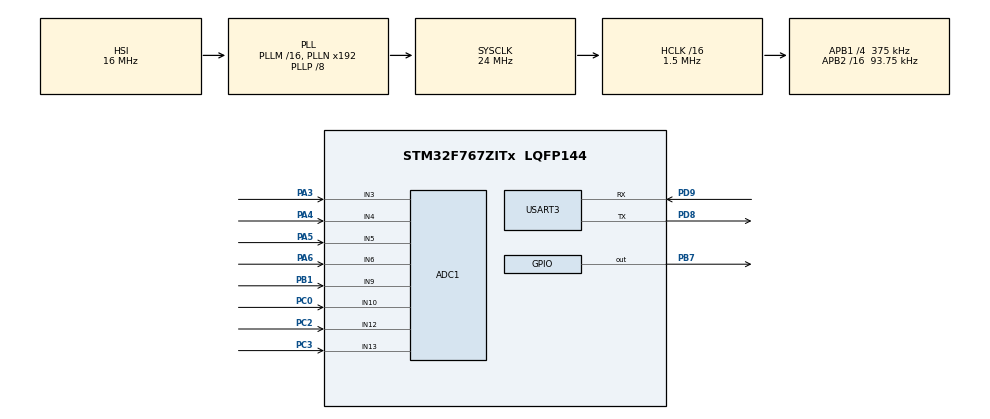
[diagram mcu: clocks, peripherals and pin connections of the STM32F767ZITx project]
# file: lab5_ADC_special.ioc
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ADC1.Channel-0\#ChannelRegularConversion=ADC_CHANNEL_12
ADC1.Channel-1\#ChannelRegularConversion=ADC_CHANNEL_13
ADC1.Channel-2\#ChannelRegularConversion=ADC_CHANNEL_10
ADC1.Channel-3\#ChannelRegularConversion=ADC_CHANNEL_3
ADC1.Channel-4\#ChannelRegularConversion=ADC_CHANNEL_4
ADC1.Channel-5\#ChannelRegularConversion=ADC_CHANNEL_5
ADC1.Channel-6\#ChannelRegularConversion=ADC_CHANNEL_6
ADC1.Channel-7\#ChannelRegularConversion=ADC_CHANNEL_9
ADC1.ClockPrescaler=ADC_CLOCK_SYNC_PCLK_DIV8
ADC1.ContinuousConvMode=ENABLE
ADC1.DMAContinuousRequests=ENABLE
ADC1.NbrOfConversion=8
ADC1.NbrOfConversionFlag=1
ADC1.Rank-0\#ChannelRegularConversion=1
ADC1.Rank-1\#ChannelRegularConversion=2
ADC1.Rank-2\#ChannelRegularConversion=3
ADC1.Rank-3\#ChannelRegularConversion=4
ADC1.Rank-4\#ChannelRegularConversion=5
ADC1.Rank-5\#ChannelRegularConversion=6
ADC1.Rank-6\#ChannelRegularConversion=7
ADC1.Rank-7\#ChannelRegularConversion=8
ADC1.SamplingTime-0\#ChannelRegularConversion=ADC_SAMPLETIME_480CYCLES
ADC1.SamplingTime-1\#ChannelRegularConversion=ADC_SAMPLETIME_480CYCLES
ADC1.SamplingTime-2\#ChannelRegularConversion=ADC_SAMPLETIME_480CYCLES
ADC1.SamplingTime-3\#ChannelRegularConversion=ADC_SAMPLETIME_480CYCLES
ADC1.SamplingTime-4\#ChannelRegularConversion=ADC_SAMPLETIME_480CYCLES
ADC1.SamplingTime-5\#ChannelRegularConversion=ADC_SAMPLETIME_480CYCLES
ADC1.SamplingTime-6\#ChannelRegularConversion=ADC_SAMPLETIME_480CYCLES
ADC1.SamplingTime-7\#ChannelRegularConversion=ADC_SAMPLETIME_480CYCLES
ADC1.ScanConvMode=ADC_SCAN_ENABLE
ADC1.master=1
CORTEX_M7.default_mode_Activation=1
Dma.ADC1.0.Direction=DMA_PERIPH_TO_MEMORY
Dma.ADC1.0.FIFOMode=DMA_FIFOMODE_DISABLE
Dma.ADC1.0.Instance=DMA2_Stream0
Dma.ADC1.0.MemDataAlignment=DMA_MDATAALIGN_WORD
Dma.ADC1.0.MemInc=DMA_MINC_ENABLE
Dma.ADC1.0.Mode=DMA_CIRCULAR
Dma.ADC1.0.PeriphDataAlignment=DMA_PDATAALIGN_WORD
Dma.ADC1.0.PeriphInc=DMA_PINC_DISABLE
Dma.ADC1.0.Priority=DMA_PRIORITY_LOW
Dma.Request0=ADC1
Mcu.Family=STM32F7
Mcu.Name=STM32F767ZITx
Mcu.Package=LQFP144
NVIC.DMA2_Stream0_IRQn=true\:1\:0\:true\:false\:true\:false\:true\:true
NVIC.PriorityGroup=NVIC_PRIORITYGROUP_2
PA3.Signal=ADCx_IN3
PA4.Signal=ADCx_IN4
PA5.Signal=ADCx_IN5
PA6.Signal=ADCx_IN6
PB1.Signal=ADCx_IN9
PB7.Signal=GPIO_Output
PC0.Signal=ADCx_IN10
PC2.Signal=ADCx_IN12
PC3.Signal=ADCx_IN13
PD8.Mode=Asynchronous
PD8.Signal=USART3_TX
PD9.Mode=Asynchronous
PD9.Signal=USART3_RX
ProjectManager.HeapSize=0x200
ProjectManager.StackSize=0x400
ProjectManager.TargetToolchain=STM32CubeIDE
RCC.AHBCLKDivider=RCC_SYSCLK_DIV16
RCC.AHBFreq_Value=1500000
RCC.APB1CLKDivider=RCC_HCLK_DIV4
RCC.APB1Freq_Value=375000
RCC.APB1TimFreq_Value=750000
RCC.APB2CLKDivider=RCC_HCLK_DIV16
RCC.APB2Freq_Value=93750
RCC.APB2TimFreq_Value=187500
RCC.CortexFreq_Value=1500000
RCC.HCLKFreq_Value=1500000
RCC.HSE_VALUE=25000000
RCC.HSI_VALUE=16000000
RCC.LSE_VALUE=32768
RCC.PLLP=RCC_PLLP_DIV8
RCC.SYSCLKFreq_VALUE=24000000
RCC.SYSCLKSource=RCC_SYSCLKSOURCE_PLLCLK
RCC.USART3CLockSelection=RCC_USART3CLKSOURCE_HSI
RCC.USBFreq_Value=96000000
RCC.VCOOutputFreq_Value=192000000
SH.ADCx_IN10.0=ADC1_IN10,IN10
SH.ADCx_IN12.0=ADC1_IN12,IN12
SH.ADCx_IN13.0=ADC1_IN13,IN13
SH.ADCx_IN3.0=ADC1_IN3,IN3
SH.ADCx_IN4.0=ADC1_IN4,IN4
SH.ADCx_IN5.0=ADC1_IN5,IN5
SH.ADCx_IN6.0=ADC1_IN6,IN6
SH.ADCx_IN9.0=ADC1_IN9,IN9
USART3.VirtualMode-Asynchronous=VM_ASYNC
board=custom

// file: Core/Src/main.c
/* USER CODE BEGIN Header */
/**
  ******************************************************************************
  * @file           : main.c
  * @brief          : Main program body
  ******************************************************************************
  * @attention
  *
  * Copyright (c) 2025 STMicroelectronics.
  * All rights reserved.
  *
  * This software is licensed under terms that can be found in the LICENSE file
  * in the root directory of this software component.
  * If no LICENSE file comes with this software, it is provided AS-IS.
  *
  ******************************************************************************
  */
/* USER CODE END Header */
#include "main.h"
#include "adc.h"
#include "dma.h"
#include "usart.h"
#include "gpio.h"

/* USER CODE BEGIN Includes */

typedef struct {
    GPIO_TypeDef *port;
    uint16_t pin;
} LedPin;

LedPin LD2 = {GPIOB, GPIO_PIN_7};

/* USER CODE END Includes */

/* USER CODE BEGIN PD */
#define size_of_adc_value 8

/* USER CODE END PD */

/* USER CODE BEGIN PV */

uint32_t adc_val[size_of_adc_value];
uint8_t ch_adc[] = {12, 13, 10, 3, 4, 5, 6, 9};

/* USER CODE END PV */

void SystemClock_Config(void);
static void MPU_Config(void);

int main(void)
{

  /* MPU Configuration--------------------------------------------------------*/
  MPU_Config();

  /* MCU Configuration--------------------------------------------------------*/

  /* Reset of all peripherals, Initializes the Flash interface and the Systick. */
  HAL_Init();

  /* Configure the system clock */
  SystemClock_Config();

  /* Initialize all configured peripherals */
  MX_GPIO_Init();
  MX_DMA_Init();
  MX_ADC1_Init();
  MX_USART3_UART_Init();
  /* USER CODE BEGIN 2 */

  HAL_ADC_Start_DMA(&hadc1, adc_val, size_of_adc_value);
  /* USER CODE END 2 */

  /* Infinite loop */
  while (1)
  {

  }
}

void SystemClock_Config(void)
{
  RCC_OscInitTypeDef RCC_OscInitStruct = {0};
  RCC_ClkInitTypeDef RCC_ClkInitStruct = {0};

  /** Configure the main internal regulator output voltage
  */
  __HAL_RCC_PWR_CLK_ENABLE();
  __HAL_PWR_VOLTAGESCALING_CONFIG(PWR_REGULATOR_VOLTAGE_SCALE3);

  /** Initializes the RCC Oscillators according to the specified parameters
  * in the RCC_OscInitTypeDef structure.
  */
  RCC_OscInitStruct.OscillatorType = RCC_OSCILLATORTYPE_HSI;
  RCC_OscInitStruct.HSIState = RCC_HSI_ON;
  RCC_OscInitStruct.HSICalibrationValue = RCC_HSICALIBRATION_DEFAULT;
  RCC_OscInitStruct.PLL.PLLState = RCC_PLL_ON;
  RCC_OscInitStruct.PLL.PLLSource = RCC_PLLSOURCE_HSI;
  RCC_OscInitStruct.PLL.PLLM = 16;
  RCC_OscInitStruct.PLL.PLLN = 192;
  RCC_OscInitStruct.PLL.PLLP = RCC_PLLP_DIV8;
  RCC_OscInitStruct.PLL.PLLQ = 2;
  RCC_OscInitStruct.PLL.PLLR = 2;
  if (HAL_RCC_OscConfig(&RCC_OscInitStruct) != HAL_OK)
  {
    Error_Handler();
  }

  /** Initializes the CPU, AHB and APB buses clocks
  */
  RCC_ClkInitStruct.ClockType = RCC_CLOCKTYPE_HCLK|RCC_CLOCKTYPE_SYSCLK
                              |RCC_CLOCKTYPE_PCLK1|RCC_CLOCKTYPE_PCLK2;
  RCC_ClkInitStruct.SYSCLKSource = RCC_SYSCLKSOURCE_PLLCLK;
  RCC_ClkInitStruct.AHBCLKDivider = RCC_SYSCLK_DIV16;
  RCC_ClkInitStruct.APB1CLKDivider = RCC_HCLK_DIV4;
  RCC_ClkInitStruct.APB2CLKDivider = RCC_HCLK_DIV16;

  if (HAL_RCC_ClockConfig(&RCC_ClkInitStruct, FLASH_LATENCY_0) != HAL_OK)
  {
    Error_Handler();
  }
}

/* USER CODE BEGIN 4 */

void HAL_ADC_ConvCpltCallback(ADC_HandleTypeDef* hadc){
	HAL_GPIO_WritePin(GPIOB, GPIO_PIN_7, GPIO_PIN_RESET);

	for (uint8_t i = 0; i < size_of_adc_value; i++){
		char buf[200];
		sprintf(buf, "Value of ADC1 Channel %2d --> %4d  ", ch_adc[i], adc_val[i]);

		HAL_UART_Transmit(&huart3, (uint8_t *)buf, strlen(buf), 100);
		HAL_UART_Transmit(&huart3, "\r\n", 2, 100);
	}

	HAL_UART_Transmit(&huart3, "--------------\r\n", 17, 100);
}

void HAL_ADC_ConvHalfCpltCallback(ADC_HandleTypeDef* hadc){
	HAL_GPIO_WritePin(GPIOB, GPIO_PIN_7, GPIO_PIN_SET);
}

/* USER CODE END 4 */

 /* MPU Configuration */

void MPU_Config(void)
{
  MPU_Region_InitTypeDef MPU_InitStruct = {0};

  /* Disables the MPU */
  HAL_MPU_Disable();

  /** Initializes and configures the Region and the memory to be protected
  */
  MPU_InitStruct.Enable = MPU_REGION_ENABLE;
  MPU_InitStruct.Number = MPU_REGION_NUMBER0;
  MPU_InitStruct.BaseAddress = 0x0;
  MPU_InitStruct.Size = MPU_REGION_SIZE_4GB;
  MPU_InitStruct.SubRegionDisable = 0x87;
  MPU_InitStruct.TypeExtField = MPU_TEX_LEVEL0;
  MPU_InitStruct.AccessPermission = MPU_REGION_NO_ACCESS;
  MPU_InitStruct.DisableExec = MPU_INSTRUCTION_ACCESS_DISABLE;
  MPU_InitStruct.IsShareable = MPU_ACCESS_SHAREABLE;
  MPU_InitStruct.IsCacheable = MPU_ACCESS_NOT_CACHEABLE;
  MPU_InitStruct.IsBufferable = MPU_ACCESS_NOT_BUFFERABLE;

  HAL_MPU_ConfigRegion(&MPU_InitStruct);
  /* Enables the MPU */
  HAL_MPU_Enable(MPU_PRIVILEGED_DEFAULT);

}

void Error_Handler(void)
{
  __disable_irq();
  while (1)
  {
  }
}
